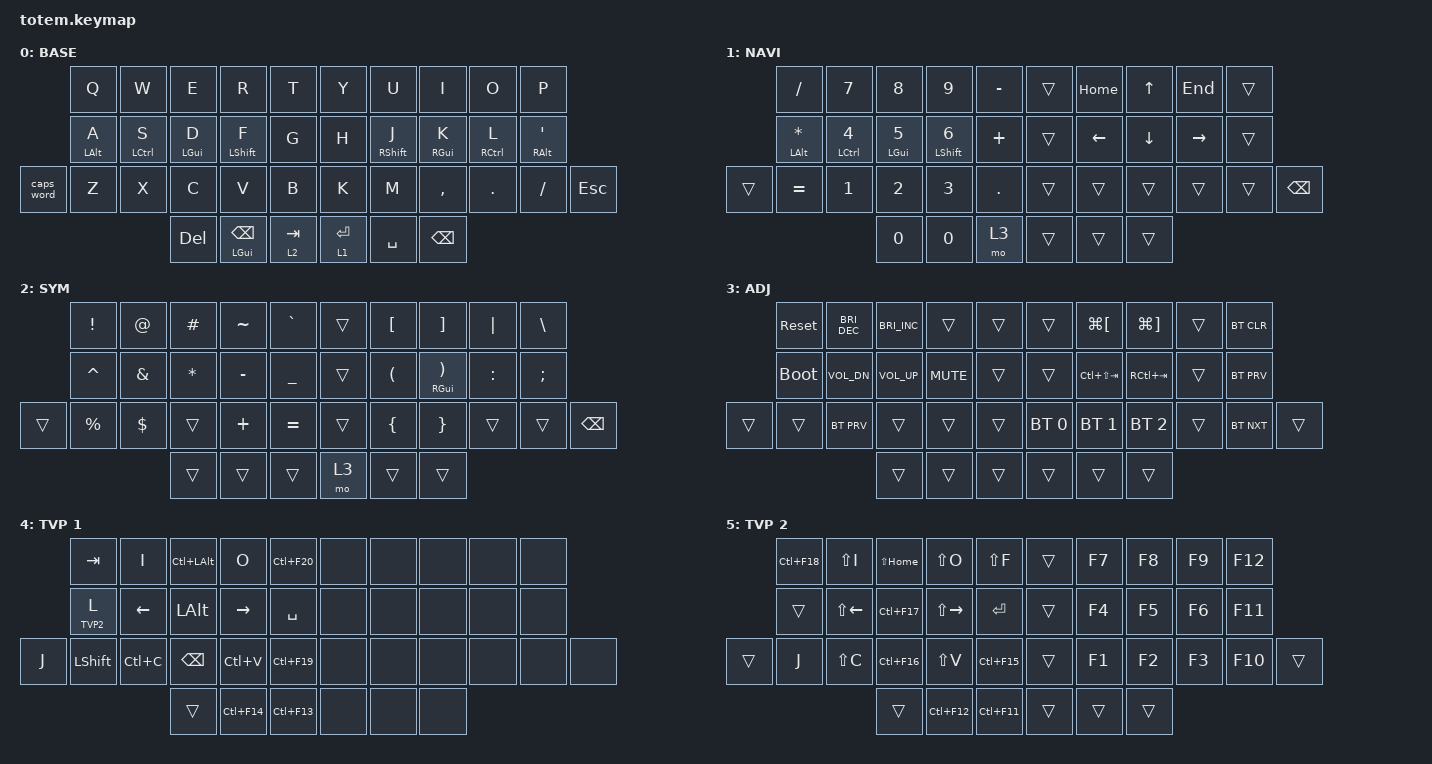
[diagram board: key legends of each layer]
//
//                                                        ▀▀▀▀▀     ▀▀▀▀▀          ▀▀█▀▀
//                                                        ▄▀▀▀▄  ▄  ▄▀▀▀▄  ▄  ▄▀▀▀▄  █  ▄▀▀▀▄
//                                                        █   █  █  █   █  █  █   █  █  █   █
//                                                         ▀▀▀   █   ▀▀▀   █   ▀▀▀   ▀   ▀▀▀
//                                                               █      ▄▄▄█▄▄▄    █   █  
//                                                               ▀      █  █  █     █▄█
//                                                             ▀▀▀▀▀    █  █  █      ▀
//                                                                      ▀  ▀  ▀
//
// ▄▄▄▄▄▄▄▄▄▄▄▄▄▄▄▄▄▄▄▄▄▄▄▄▄▄▄▄▄▄▄▄▄▄▄▄▄▄▄▄▄▄▄▄▄▄▄▄▄▄▄▄▄▄▄▄▄▄▄▄▄▄▄▄▄▄▄▄▄▄▄▄▄▄▄▄▄▄▄▄▄▄▄▄▄▄▄▄▄▄▄▄▄▄▄▄▄▄▄▄▄▄▄▄▄▄▄▄▄▄▄▄▄▄▄▄▄▄▄▄▄▄▄▄▄▄▄▄▄▄▄▄▄▄▄▄▄▄▄▄▄▄▄▄▄▄▄▄▄

#include <behaviors.dtsi>
#include <dt-bindings/zmk/bt.h>
#include <dt-bindings/zmk/keys.h>

#define BASE 0
#define NAV  1
#define SYM  2
#define ADJ  3
#define TVP1 4
#define TVP2 5

&mt {
    quick-tap-ms = <100>;
    global-quick-tap;
    flavor = "tap-preferred";
    tapping-term-ms = <170>;
};

/ {
    combos {
        compatible = "zmk,combos";

        combo_esc {
            timeout-ms = <50>;
            key-positions = <0 1>;
            bindings = <&kp ESC>;
        };

        combo_tvp {
            timeout-ms = <100>;
            key-positions = <11 12 13>;
            bindings = <&tog TVP1>;
        };
    };

    macros {
        gif: gif {
            label = "giphy";
            compatible = "zmk,behavior-macro";
            #binding-cells = <0>;
            bindings =
                <&macro_press>,
                <&kp LSHFT>,
                <&macro_tap>,
                <&kp N2>,
                <&macro_release>,
                <&kp LSHFT>,
                <&macro_tap>,
                <&kp G &kp I &kp F>;
        };
    };

    keymap {
        compatible = "zmk,keymap";

        // ▄▄▄▄▄▄▄▄▄▄▄▄▄▄▄▄▄▄▄▄▄▄▄▄▄▄▄▄▄▄▄▄▄▄▄▄▄▄▄▄▄▄▄▄▄▄▄▄▄▄▄▄▄▄▄▄▄▄▄▄▄▄▄▄▄▄▄▄▄▄▄▄▄▄▄▄▄▄▄▄▄▄▄▄▄▄▄▄▄▄▄▄▄▄▄▄▄▄▄▄▄▄▄▄▄▄▄▄▄▄▄▄▄▄▄▄▄▄▄▄▄▄▄▄▄▄▄▄▄▄▄▄▄▄▄▄▄▄▄▄▄▄▄▄▄▄▄▄▄

        base_layer {
            // ┏━━━━━━━━━━━━━━━━━━━━━━━━━━━━━━━━━━━━━━━┓

            label = "BASE";

            // ┗━━━━━━━━━━━━━━━━━━━━━━━━━━━━━━━━━━━━━━━┛
            //             ┏━━━━━━━━━━━┳━━━━━━━━━━━┳━━━━━━━━━━━┳━━━━━━━━━━━┳━━━━━━━━━━━┓   ┏━━━━━━━━━━━┳━━━━━━━━━━━┳━━━━━━━━━━━┳━━━━━━━━━━━┳━━━━━━━━━━━┓
            //             ┃     Q     ┃     W     ┃     F     ┃     P     ┃     G     ┃   ┃     J     ┃     L     ┃     U     ┃     Y     ┃     ;     ┃
            //             ┣━━━━━━━━━━━╋━━━━━━━━━━━╋━━━━━━━━━━━╋━━━━━━━━━━━╋━━━━━━━━━━━┫   ┣━━━━━━━━━━━╋━━━━━━━━━━━╋━━━━━━━━━━━╋━━━━━━━━━━━╋━━━━━━━━━━━┫
            //             ┃     A     ┃     R     ┃     S     ┃     T     ┃     D     ┃   ┃     H     ┃     N     ┃     E     ┃     I     ┃     O     ┃
            // ┏━━━━━━━━━━━╋━━━━━━━━━━━╋━━━━━━━━━━━╋━━━━━━━━━━━╋━━━━━━━━━━━╋━━━━━━━━━━━┫   ┣━━━━━━━━━━━╋━━━━━━━━━━━╋━━━━━━━━━━━╋━━━━━━━━━━━╋━━━━━━━━━━━╋━━━━━━━━━━━┓
            // ┃     Q     ┃     Z     ┃     X     ┃     C     ┃     V     ┃     B     ┃   ┃     K     ┃     M     ┃     ,     ┃     .     ┃     /     ┃     \     ┃
            // ┗━━━━━━━━━━━┻━━━━━━━━━━━┻━━━━━━━━━━━╋━━━━━━━━━━━╋━━━━━━━━━━━╋━━━━━━━━━━━┫   ┣━━━━━━━━━━━╋━━━━━━━━━━━╋━━━━━━━━━━━╋━━━━━━━━━━━┻━━━━━━━━━━━┻━━━━━━━━━━━┛
            //                                     ┃    DEL    ┃    TAB    ┃    SPC    ┃   ┃   ENTER   ┃           ┃   BSPC    ┃
            //                                     ┗━━━━━━━━━━━┻━━━━━━━━━━━┻━━━━━━━━━━━┛   ┗━━━━━━━━━━━┻━━━━━━━━━━━┻━━━━━━━━━━━┛

            bindings = <
            &kp Q       &kp W               &kp E       &kp R                   &kp T        &kp Y        &kp U        &kp I       &kp O                &kp P
            &mt LALT A  &mt LEFT_CONTROL S  &mt LGUI D  &mt LSHFT F             &kp G        &kp H        &mt RSHFT J  &mt RGUI K  &mt RIGHT_CONTROL L  &mt RALT SQT
&caps_word  &kp Z       &kp X               &kp C       &kp V                   &kp B        &kp K        &kp M        &kp COMMA   &kp DOT              &kp FSLH      &kp ESCAPE
                                            &kp DEL     &mt LEFT_GUI BACKSPACE  &lt 2 TAB    &lt 1 ENTER  &kp SPACE    &kp BSPC
            >;
        };

        // ▄▄▄▄▄▄▄▄▄▄▄▄▄▄▄▄▄▄▄▄▄▄▄▄▄▄▄▄▄▄▄▄▄▄▄▄▄▄▄▄▄▄▄▄▄▄▄▄▄▄▄▄▄▄▄▄▄▄▄▄▄▄▄▄▄▄▄▄▄▄▄▄▄▄▄▄▄▄▄▄▄▄▄▄▄▄▄▄▄▄▄▄▄▄▄▄▄▄▄▄▄▄▄▄▄▄▄▄▄▄▄▄▄▄▄▄▄▄▄▄▄▄▄▄▄▄▄▄▄▄▄▄▄▄▄▄▄▄▄▄▄▄▄▄▄▄▄▄▄

        nav_num_layer {
            // ┏━━━━━━━━━━━━━━━━━━━━━━━━━━━━━━━━━━━━━━━┓

            label = "NAVI";

            // ┗━━━━━━━━━━━━━━━━━━━━━━━━━━━━━━━━━━━━━━━┛
            //             ┏━━━━━━━━━━━┳━━━━━━━━━━━┳━━━━━━━━━━━┳━━━━━━━━━━━┳━━━━━━━━━━━┓   ┏━━━━━━━━━━━┳━━━━━━━━━━━┳━━━━━━━━━━━┳━━━━━━━━━━━┳━━━━━━━━━━━┓
            //             ┃           ┃           ┃     UP    ┃           ┃     {     ┃   ┃     }     ┃     7     ┃     8     ┃     9     ┃     +     ┃
            //             ┣━━━━━━━━━━━╋━━━━━━━━━━━╋━━━━━━━━━━━╋━━━━━━━━━━━╋━━━━━━━━━━━┫   ┣━━━━━━━━━━━╋━━━━━━━━━━━╋━━━━━━━━━━━╋━━━━━━━━━━━╋━━━━━━━━━━━┫
            //             ┃   SHIFT   ┃   LEFT    ┃    DOWN   ┃   RIGHT   ┃     [     ┃   ┃     ]     ┃     4     ┃     5     ┃     6     ┃     -     ┃
            // ┏━━━━━━━━━━━╋━━━━━━━━━━━╋━━━━━━━━━━━╋━━━━━━━━━━━╋━━━━━━━━━━━╋━━━━━━━━━━━┫   ┣━━━━━━━━━━━╋━━━━━━━━━━━╋━━━━━━━━━━━╋━━━━━━━━━━━╋━━━━━━━━━━━╋━━━━━━━━━━━┓
            // ┃           ┃           ┃   P UP    ┃  C LOCK   ┃  P DOWN   ┃     (     ┃   ┃     )     ┃     1     ┃     2     ┃     3     ┃     *     ┃           ┃
            // ┗━━━━━━━━━━━┻━━━━━━━━━━━┻━━━━━━━━━━━╋━━━━━━━━━━━╋━━━━━━━━━━━╋━━━━━━━━━━━┫   ┣━━━━━━━━━━━╋━━━━━━━━━━━╋━━━━━━━━━━━╋━━━━━━━━━━━┻━━━━━━━━━━━┻━━━━━━━━━━━┛
            //                                     ┃           ┃    TAB    ┃    SPC    ┃   ┃    DEL    ┃     0     ┃           ┃
            //                                     ┗━━━━━━━━━━━┻━━━━━━━━━━━┻━━━━━━━━━━━┛   ┗━━━━━━━━━━━┻━━━━━━━━━━━┻━━━━━━━━━━━┛

            bindings = <
        &kp FSLH           &kp NUMBER_7               &kp NUMBER_8       &kp NUMBER_9        &kp MINUS     &trans  &kp HOME  &kp UP_ARROW    &kp END    &trans
        &mt LALT ASTERISK  &mt LEFT_CONTROL NUMBER_4  &mt LGUI NUMBER_5  &mt LSHFT NUMBER_6  &kp PLUS      &trans  &kp LEFT  &kp DOWN_ARROW  &kp RIGHT  &trans
&trans  &kp EQUAL          &kp NUMBER_1               &kp NUMBER_2       &kp NUMBER_3        &kp PERIOD    &trans  &trans    &trans          &trans     &trans  &kp BACKSPACE
                                                      &kp NUMBER_0       &kp NUMBER_0        &mo 3         &trans  &trans    &trans
            >;
        };

        // ▄▄▄▄▄▄▄▄▄▄▄▄▄▄▄▄▄▄▄▄▄▄▄▄▄▄▄▄▄▄▄▄▄▄▄▄▄▄▄▄▄▄▄▄▄▄▄▄▄▄▄▄▄▄▄▄▄▄▄▄▄▄▄▄▄▄▄▄▄▄▄▄▄▄▄▄▄▄▄▄▄▄▄▄▄▄▄▄▄▄▄▄▄▄▄▄▄▄▄▄▄▄▄▄▄▄▄▄▄▄▄▄▄▄▄▄▄▄▄▄▄▄▄▄▄▄▄▄▄▄▄▄▄▄▄▄▄▄▄▄▄▄▄▄▄▄▄▄▄

        sim_layer {
            // ┏━━━━━━━━━━━━━━━━━━━━━━━━━━━━━━━━━━━━━━━┓

            label = "SYM";

            // ┗━━━━━━━━━━━━━━━━━━━━━━━━━━━━━━━━━━━━━━━┛
            //             ┏━━━━━━━━━━━┳━━━━━━━━━━━┳━━━━━━━━━━━┳━━━━━━━━━━━┳━━━━━━━━━━━┓   ┏━━━━━━━━━━━┳━━━━━━━━━━━┳━━━━━━━━━━━┳━━━━━━━━━━━┳━━━━━━━━━━━┓
            //             ┃     !     ┃     @     ┃     #     ┃     $     ┃     %     ┃   ┃     ˆ     ┃     &     ┃     Ü     ┃     '     ┃     "     ┃
            //             ┣━━━━━━━━━━━╋━━━━━━━━━━━╋━━━━━━━━━━━╋━━━━━━━━━━━╋━━━━━━━━━━━┫   ┣━━━━━━━━━━━╋━━━━━━━━━━━╋━━━━━━━━━━━╋━━━━━━━━━━━╋━━━━━━━━━━━┫
            //             ┃     Ä     ┃           ┃    SZ     ┃           ┃           ┃   ┃   MUTE    ┃   YEN     ┃   EURO    ┃  POUND    ┃     Ö     ┃
            // ┏━━━━━━━━━━━╋━━━━━━━━━━━╋━━━━━━━━━━━╋━━━━━━━━━━━╋━━━━━━━━━━━╋━━━━━━━━━━━┫   ┣━━━━━━━━━━━╋━━━━━━━━━━━╋━━━━━━━━━━━╋━━━━━━━━━━━╋━━━━━━━━━━━╋━━━━━━━━━━━┓
            // ┃           ┃  EMAIL1   ┃  EMAIL2   ┃           ┃           ┃           ┃   ┃   VOL-    ┃   VOL+    ┃   LAST    ┃   NEXT    ┃     \     ┃           ┃
            // ┗━━━━━━━━━━━┻━━━━━━━━━━━┻━━━━━━━━━━━╋━━━━━━━━━━━╋━━━━━━━━━━━╋━━━━━━━━━━━┫   ┣━━━━━━━━━━━╋━━━━━━━━━━━╋━━━━━━━━━━━╋━━━━━━━━━━━┻━━━━━━━━━━━┻━━━━━━━━━━━┛
            //                                     ┃           ┃    GIF    ┃    ADJ    ┃   ┃           ┃           ┃           ┃
            //                                     ┗━━━━━━━━━━━┻━━━━━━━━━━━┻━━━━━━━━━━━┛   ┗━━━━━━━━━━━┻━━━━━━━━━━━┻━━━━━━━━━━━┛

            bindings = <
        &kp EXCL     &kp AT      &kp HASH      &kp TILDE  &kp GRAVE         &trans  &kp LEFT_BRACKET      &kp RIGHT_BRACKET                &kp PIPE   &kp BSLH
        &kp CARET    &kp AMPS    &kp ASTERISK  &kp MINUS  &kp UNDERSCORE    &trans  &kp LEFT_PARENTHESIS  &mt RIGHT_GUI RIGHT_PARENTHESIS  &kp COLON  &kp SEMICOLON
&trans  &kp PERCENT  &kp DOLLAR  &trans        &kp PLUS   &kp EQUAL         &trans  &kp LEFT_BRACE        &kp RIGHT_BRACE                  &trans     &trans         &kp BACKSPACE
                                 &trans        &trans     &trans            &mo 3   &trans                &trans
            >;
        };

        // ▄▄▄▄▄▄▄▄▄▄▄▄▄▄▄▄▄▄▄▄▄▄▄▄▄▄▄▄▄▄▄▄▄▄▄▄▄▄▄▄▄▄▄▄▄▄▄▄▄▄▄▄▄▄▄▄▄▄▄▄▄▄▄▄▄▄▄▄▄▄▄▄▄▄▄▄▄▄▄▄▄▄▄▄▄▄▄▄▄▄▄▄▄▄▄▄▄▄▄▄▄▄▄▄▄▄▄▄▄▄▄▄▄▄▄▄▄▄▄▄▄▄▄▄▄▄▄▄▄▄▄▄▄▄▄▄▄▄▄▄▄▄▄▄▄▄▄▄▄

        adjust_layer {
            // ┏━━━━━━━━━━━━━━━━━━━━━━━━━━━━━━━━━━━━━━━┓

            label = "ADJ";

            // ┗━━━━━━━━━━━━━━━━━━━━━━━━━━━━━━━━━━━━━━━┛
            //             ┏━━━━━━━━━━━┳━━━━━━━━━━━┳━━━━━━━━━━━┳━━━━━━━━━━━┳━━━━━━━━━━━┓   ┏━━━━━━━━━━━┳━━━━━━━━━━━┳━━━━━━━━━━━┳━━━━━━━━━━━┳━━━━━━━━━━━┓
            //             ┃   RESET   ┃ BT CLEAR  ┃  OUT TOG  ┃           ┃           ┃   ┃           ┃    F7     ┃    F8     ┃    F9     ┃    F12    ┃
            //             ┣━━━━━━━━━━━╋━━━━━━━━━━━╋━━━━━━━━━━━╋━━━━━━━━━━━╋━━━━━━━━━━━┫   ┣━━━━━━━━━━━╋━━━━━━━━━━━╋━━━━━━━━━━━╋━━━━━━━━━━━╋━━━━━━━━━━━┫
            //             ┃ BOOTLOAD  ┃ BT NEXT   ┃           ┃           ┃           ┃   ┃           ┃    F4     ┃    F5     ┃    F6     ┃    F11    ┃
            // ┏━━━━━━━━━━━╋━━━━━━━━━━━╋━━━━━━━━━━━╋━━━━━━━━━━━╋━━━━━━━━━━━╋━━━━━━━━━━━┫   ┣━━━━━━━━━━━╋━━━━━━━━━━━╋━━━━━━━━━━━╋━━━━━━━━━━━╋━━━━━━━━━━━╋━━━━━━━━━━━┓
            // ┃           ┃           ┃ BT PREV   ┃           ┃           ┃           ┃   ┃           ┃    F1     ┃    F2     ┃    F3     ┃    F10    ┃           ┃
            // ┗━━━━━━━━━━━┻━━━━━━━━━━━┻━━━━━━━━━━━╋━━━━━━━━━━━╋━━━━━━━━━━━╋━━━━━━━━━━━┫   ┣━━━━━━━━━━━╋━━━━━━━━━━━╋━━━━━━━━━━━╋━━━━━━━━━━━┻━━━━━━━━━━━┻━━━━━━━━━━━┛
            //                                     ┃           ┃           ┃           ┃   ┃           ┃           ┃           ┃
            //                                     ┗━━━━━━━━━━━┻━━━━━━━━━━━┻━━━━━━━━━━━┛   ┗━━━━━━━━━━━┻━━━━━━━━━━━┻━━━━━━━━━━━┛

            bindings = <
        &sys_reset   &kp C_BRIGHTNESS_DEC  &kp C_BRIGHTNESS_INC  &trans      &trans    &trans        &kp LG(LEFT_BRACKET)  &kp LG(RIGHT_BRACKET)  &trans  &bt BT_CLR
        &bootloader  &kp C_VOL_DN          &kp C_VOLUME_UP       &kp K_MUTE  &trans    &trans        &kp LC(LS(TAB))       &kp RC(TAB)            &trans  &bt BT_PRV
&trans  &trans       &bt BT_PRV            &trans                &trans      &trans    &bt BT_SEL 0  &bt BT_SEL 1          &bt BT_SEL 2           &trans  &bt BT_NXT  &trans
                                           &trans                &trans      &trans    &trans        &trans                &trans
            >;
        };

        // ▄▄▄▄▄▄▄▄▄▄▄▄▄▄▄▄▄▄▄▄▄▄▄▄▄▄▄▄▄▄▄▄▄▄▄▄▄▄▄▄▄▄▄▄▄▄▄▄▄▄▄▄▄▄▄▄▄▄▄▄▄▄▄▄▄▄▄▄▄▄▄▄▄▄▄▄▄▄▄▄▄▄▄▄▄▄▄▄▄▄▄▄▄▄▄▄▄▄▄▄▄▄▄▄▄▄▄▄▄▄▄▄▄▄▄▄▄▄▄▄▄▄▄▄▄▄▄▄▄▄▄▄▄▄▄▄▄▄▄▄▄▄▄▄▄▄▄▄▄

        tvp1_layer {
            // ┏━━━━━━━━━━━━━━━━━━━━━━━━━━━━━━━━━━━━━━━┓

            label = "TVP 1";

            // ┗━━━━━━━━━━━━━━━━━━━━━━━━━━━━━━━━━━━━━━━┛
            //             ┏━━━━━━━━━━━┳━━━━━━━━━━━┳━━━━━━━━━━━┳━━━━━━━━━━━┳━━━━━━━━━━━┓   ┏━━━━━━━━━━━┳━━━━━━━━━━━┳━━━━━━━━━━━┳━━━━━━━━━━━┳━━━━━━━━━━━┓
            //             ┃ NEXT FILE ┃ MARK IN   ┃ ROTATE    ┃ MARK OUT  ┃ SHOW SNAP ┃   ┃           ┃           ┃           ┃           ┃           ┃
            //             ┣━━━━━━━━━━━╋━━━━━━━━━━━╋━━━━━━━━━━━╋━━━━━━━━━━━╋━━━━━━━━━━━┫   ┣━━━━━━━━━━━╋━━━━━━━━━━━╋━━━━━━━━━━━╋━━━━━━━━━━━╋━━━━━━━━━━━┫
            //             ┃ TVP II    ┃ LEFT      ┃ PAN       ┃ RIGHT     ┃ PLAY/FLIP ┃   ┃           ┃           ┃           ┃           ┃           ┃
            // ┏━━━━━━━━━━━╋━━━━━━━━━━━╋━━━━━━━━━━━╋━━━━━━━━━━━╋━━━━━━━━━━━╋━━━━━━━━━━━┫   ┣━━━━━━━━━━━╋━━━━━━━━━━━╋━━━━━━━━━━━╋━━━━━━━━━━━╋━━━━━━━━━━━╋━━━━━━━━━━━┓
            // ┃ FULLSCR   ┃ SHIFT     ┃ COPY      ┃ DELETE    ┃ PASTE     ┃ IMG MARK  ┃   ┃           ┃           ┃           ┃           ┃           ┃           ┃
            // ┗━━━━━━━━━━━┻━━━━━━━━━━━┻━━━━━━━━━━━╋━━━━━━━━━━━╋━━━━━━━━━━━╋━━━━━━━━━━━┫   ┣━━━━━━━━━━━╋━━━━━━━━━━━╋━━━━━━━━━━━╋━━━━━━━━━━━┻━━━━━━━━━━━┻━━━━━━━━━━━┛
            //                                     ┃           ┃ UNDO/SAVE ┃  SEL/MOV  ┃   ┃           ┃           ┃           ┃
            //                                     ┗━━━━━━━━━━━┻━━━━━━━━━━━┻━━━━━━━━━━━┛   ┗━━━━━━━━━━━┻━━━━━━━━━━━┻━━━━━━━━━━━┛

            bindings = <
       &kp TAB     &kp I      &kp LC(LALT)  &kp O        &kp LC(F20)    &none  &none  &none  &none  &none
       &lt TVP2 L  &kp LEFT   &kp LALT      &kp RIGHT    &kp SPACE      &none  &none  &none  &none  &none
&kp J  &kp LSHFT   &kp LC(C)  &kp BSPC      &kp LC(V)    &kp LC(F19)    &none  &none  &none  &none  &none  &none
                              &trans        &kp LC(F14)  &kp LC(F13)    &none  &none  &none
            >;
        };

        // ▄▄▄▄▄▄▄▄▄▄▄▄▄▄▄▄▄▄▄▄▄▄▄▄▄▄▄▄▄▄▄▄▄▄▄▄▄▄▄▄▄▄▄▄▄▄▄▄▄▄▄▄▄▄▄▄▄▄▄▄▄▄▄▄▄▄▄▄▄▄▄▄▄▄▄▄▄▄▄▄▄▄▄▄▄▄▄▄▄▄▄▄▄▄▄▄▄▄▄▄▄▄▄▄▄▄▄▄▄▄▄▄▄▄▄▄▄▄▄▄▄▄▄▄▄▄▄▄▄▄▄▄▄▄▄▄▄▄▄▄▄▄▄▄▄▄▄▄▄

        tvp2_layer {
            // ┏━━━━━━━━━━━━━━━━━━━━━━━━━━━━━━━━━━━━━━━┓

            label = "TVP 2";

            // ┗━━━━━━━━━━━━━━━━━━━━━━━━━━━━━━━━━━━━━━━┛
            //             ┏━━━━━━━━━━━┳━━━━━━━━━━━┳━━━━━━━━━━━┳━━━━━━━━━━━┳━━━━━━━━━━━┓   ┏━━━━━━━━━━━┳━━━━━━━━━━━┳━━━━━━━━━━━┳━━━━━━━━━━━┳━━━━━━━━━━━┓
            //             ┃ SOLO      ┃ TOGGLE IN ┃ RESET ROT ┃ TOGGLE OUT┃ TAKE SNAP ┃   ┃           ┃           ┃           ┃           ┃           ┃
            //             ┣━━━━━━━━━━━╋━━━━━━━━━━━╋━━━━━━━━━━━╋━━━━━━━━━━━╋━━━━━━━━━━━┫   ┣━━━━━━━━━━━╋━━━━━━━━━━━╋━━━━━━━━━━━╋━━━━━━━━━━━╋━━━━━━━━━━━┫
            //             ┃ ---       ┃ LAST KEY  ┃ NEW KEY   ┃ NEXT KEY  ┃ ENTER     ┃   ┃           ┃           ┃           ┃           ┃           ┃
            // ┏━━━━━━━━━━━╋━━━━━━━━━━━╋━━━━━━━━━━━╋━━━━━━━━━━━╋━━━━━━━━━━━╋━━━━━━━━━━━┫   ┣━━━━━━━━━━━╋━━━━━━━━━━━╋━━━━━━━━━━━╋━━━━━━━━━━━╋━━━━━━━━━━━╋━━━━━━━━━━━┓
            // ┃           ┃ FULLSCR   ┃ CPY2BRUSH ┃ DEL HEAD  ┃ PSTinPLACE┃ BOOK MARK ┃   ┃           ┃           ┃           ┃           ┃           ┃           ┃
            // ┗━━━━━━━━━━━┻━━━━━━━━━━━┻━━━━━━━━━━━╋━━━━━━━━━━━╋━━━━━━━━━━━╋━━━━━━━━━━━┫   ┣━━━━━━━━━━━╋━━━━━━━━━━━╋━━━━━━━━━━━╋━━━━━━━━━━━┻━━━━━━━━━━━┻━━━━━━━━━━━┛
            //                                     ┃           ┃ REDO/SAV1 ┃TRANS/WARP ┃   ┃           ┃           ┃           ┃
            //                                     ┗━━━━━━━━━━━┻━━━━━━━━━━━┻━━━━━━━━━━━┛   ┗━━━━━━━━━━━┻━━━━━━━━━━━┻━━━━━━━━━━━┛

            bindings = <
        &kp LC(F18)  &kp LS(I)     &kp LS(HOME)  &kp LS(O)      &kp LS(F)      &trans  &kp F7  &kp F8  &kp F9  &kp F12
        &trans       &kp LS(LEFT)  &kp LC(F17)   &kp LS(RIGHT)  &kp RET        &trans  &kp F4  &kp F5  &kp F6  &kp F11
&trans  &kp J        &kp LS(C)     &kp LC(F16)   &kp LS(V)      &kp LC(F15)    &trans  &kp F1  &kp F2  &kp F3  &kp F10  &trans
                                   &trans        &kp LC(F12)    &kp LC(F11)    &trans  &trans  &trans
            >;
        };
    };
};
